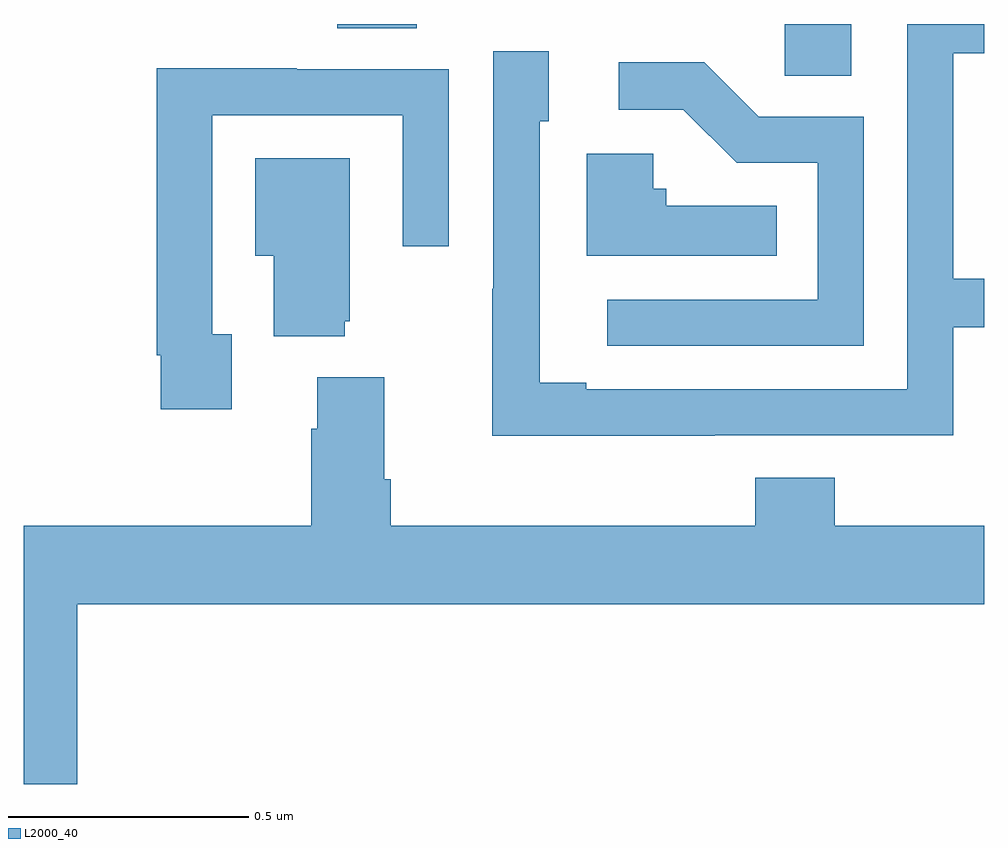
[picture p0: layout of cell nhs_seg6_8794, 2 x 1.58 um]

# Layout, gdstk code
import gdstk
lib = gdstk.Library(unit=1e-6, precision=1e-09)
def R(c, l, rs):  # rectangles x0, y0, x1, y1
    for r in rs: c.add(gdstk.rectangle(r[:2], r[2:], *l))
def P(c, l, *ps):  # polygons
    for p in ps: c.add(gdstk.Polygon(p, *l))
L2000_40 = (2000, 40)

nhs_seg6_8794 = lib.new_cell('nhs_seg6_8794')
R(nhs_seg6_8794, L2000_40, [(226.584,992.392,226.723,992.5), (225.653,992.491,225.818,992.5)])
P(nhs_seg6_8794, L2000_40, [(226.439,991.644),(226.935,991.644),(226.935,991.869),(227,991.869),(227,991.97),(226.935,991.97),(226.935,992.439),(227,992.439),(227,992.5),(226.839,992.5),(226.839,991.74),(226.171,991.74),(226.171,991.753),(226.074,991.753),(226.074,992.298),(226.093,992.298),(226.093,992.443),(225.978,992.443),(225.978,991.949),(225.976,991.949),(225.976,991.643),(226.439,991.643)],
  [(226.749,992.307),(226.53,992.307),(226.417,992.42),(226.239,992.42),(226.239,992.322),(226.373,992.322),(226.484,992.211),(226.653,992.211),(226.653,991.926),(226.215,991.926),(226.215,991.83),(226.749,991.83)],
  [(225.433,991.854),(225.393,991.854),(225.393,992.31),(225.789,992.31),(225.789,992.037),(225.885,992.037),(225.885,992.406),(225.569,992.406),(225.569,992.408),(225.277,992.408),(225.277,991.81),(225.285,991.81),(225.285,991.698),(225.433,991.698)],
  [(226.568,992.122),(226.338,992.122),(226.338,992.157),(226.311,992.157),(226.311,992.23),(226.172,992.23),(226.172,992.018),(226.568,992.018)],
  [(225.668,991.881),(225.679,991.881),(225.679,992.221),(225.482,992.221),(225.482,992.018),(225.521,992.018),(225.521,991.85),(225.668,991.85)],
  [(225.112,991.292),(227,991.292),(227,991.456),(226.688,991.456),(226.688,991.555),(226.523,991.555),(226.523,991.456),(225.764,991.456),(225.764,991.552),(225.751,991.552),(225.751,991.765),(225.611,991.765),(225.611,991.658),(225.599,991.658),(225.599,991.456),(225,991.456),(225,990.918),(225.112,990.918)])

lib.write_gds('nhs_seg6_8794.gds')
